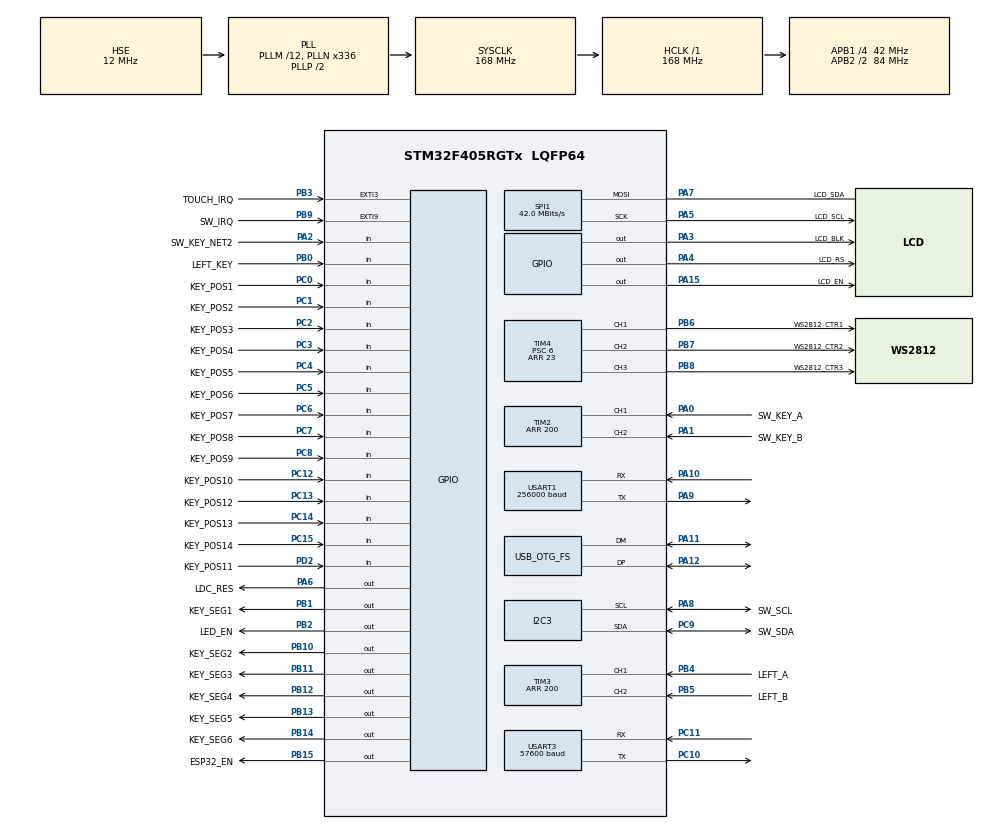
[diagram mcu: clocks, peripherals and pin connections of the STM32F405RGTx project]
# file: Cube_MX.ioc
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ADC1.Channel-0\#ChannelRegularConversion=ADC_CHANNEL_TEMPSENSOR
ADC1.NbrOfConversionFlag=1
ADC1.Rank-0\#ChannelRegularConversion=1
ADC1.SamplingTime-0\#ChannelRegularConversion=ADC_SAMPLETIME_3CYCLES
ADC1.master=1
Dma.Request0=USART3_RX
Dma.Request1=USART3_TX
Dma.Request2=SPI1_TX
Dma.Request3=USART1_RX
Dma.Request4=USART1_TX
Dma.SPI1_TX.2.Direction=DMA_MEMORY_TO_PERIPH
Dma.SPI1_TX.2.FIFOMode=DMA_FIFOMODE_DISABLE
Dma.SPI1_TX.2.Instance=DMA2_Stream3
Dma.SPI1_TX.2.MemDataAlignment=DMA_MDATAALIGN_BYTE
Dma.SPI1_TX.2.MemInc=DMA_MINC_ENABLE
Dma.SPI1_TX.2.Mode=DMA_NORMAL
Dma.SPI1_TX.2.PeriphDataAlignment=DMA_PDATAALIGN_BYTE
Dma.SPI1_TX.2.PeriphInc=DMA_PINC_DISABLE
Dma.SPI1_TX.2.Priority=DMA_PRIORITY_VERY_HIGH
Dma.USART1_RX.3.Direction=DMA_PERIPH_TO_MEMORY
Dma.USART1_RX.3.FIFOMode=DMA_FIFOMODE_DISABLE
Dma.USART1_RX.3.Instance=DMA2_Stream2
Dma.USART1_RX.3.MemDataAlignment=DMA_MDATAALIGN_BYTE
Dma.USART1_RX.3.MemInc=DMA_MINC_ENABLE
Dma.USART1_RX.3.Mode=DMA_CIRCULAR
Dma.USART1_RX.3.PeriphDataAlignment=DMA_PDATAALIGN_BYTE
Dma.USART1_RX.3.PeriphInc=DMA_PINC_DISABLE
Dma.USART1_RX.3.Priority=DMA_PRIORITY_VERY_HIGH
Dma.USART1_TX.4.Direction=DMA_MEMORY_TO_PERIPH
Dma.USART1_TX.4.FIFOMode=DMA_FIFOMODE_DISABLE
Dma.USART1_TX.4.Instance=DMA2_Stream7
Dma.USART1_TX.4.MemDataAlignment=DMA_MDATAALIGN_BYTE
Dma.USART1_TX.4.MemInc=DMA_MINC_ENABLE
Dma.USART1_TX.4.Mode=DMA_NORMAL
Dma.USART1_TX.4.PeriphDataAlignment=DMA_PDATAALIGN_BYTE
Dma.USART1_TX.4.PeriphInc=DMA_PINC_DISABLE
Dma.USART1_TX.4.Priority=DMA_PRIORITY_VERY_HIGH
Dma.USART3_RX.0.Direction=DMA_PERIPH_TO_MEMORY
Dma.USART3_RX.0.FIFOMode=DMA_FIFOMODE_DISABLE
Dma.USART3_RX.0.Instance=DMA1_Stream1
Dma.USART3_RX.0.MemDataAlignment=DMA_MDATAALIGN_BYTE
Dma.USART3_RX.0.MemInc=DMA_MINC_ENABLE
Dma.USART3_RX.0.Mode=DMA_CIRCULAR
Dma.USART3_RX.0.PeriphDataAlignment=DMA_PDATAALIGN_BYTE
Dma.USART3_RX.0.PeriphInc=DMA_PINC_DISABLE
Dma.USART3_RX.0.Priority=DMA_PRIORITY_VERY_HIGH
Dma.USART3_TX.1.Direction=DMA_MEMORY_TO_PERIPH
Dma.USART3_TX.1.FIFOMode=DMA_FIFOMODE_DISABLE
Dma.USART3_TX.1.Instance=DMA1_Stream3
Dma.USART3_TX.1.MemDataAlignment=DMA_MDATAALIGN_BYTE
Dma.USART3_TX.1.MemInc=DMA_MINC_ENABLE
Dma.USART3_TX.1.Mode=DMA_NORMAL
Dma.USART3_TX.1.PeriphDataAlignment=DMA_PDATAALIGN_BYTE
Dma.USART3_TX.1.PeriphInc=DMA_PINC_DISABLE
Dma.USART3_TX.1.Priority=DMA_PRIORITY_VERY_HIGH
FREERTOS.INCLUDE_vTaskDelayUntil=1
FREERTOS.Tasks01=defaultTask,0,128,StartDefaultTask,Default,NULL,Dynamic,NULL,NULL
FREERTOS.configTOTAL_HEAP_SIZE=20000
Mcu.Family=STM32F4
Mcu.Name=STM32F405RGTx
Mcu.Package=LQFP64
NVIC.DMA1_Stream1_IRQn=true\:6\:0\:true\:false\:true\:true\:false\:true
NVIC.DMA1_Stream3_IRQn=true\:6\:0\:true\:false\:true\:true\:false\:true
NVIC.DMA2_Stream2_IRQn=true\:6\:0\:true\:false\:true\:true\:false\:true
NVIC.DMA2_Stream3_IRQn=true\:6\:0\:true\:false\:true\:true\:false\:true
NVIC.DMA2_Stream7_IRQn=true\:6\:0\:true\:false\:true\:true\:false\:true
NVIC.EXTI3_IRQn=true\:8\:0\:true\:false\:true\:true\:true\:true
NVIC.EXTI9_5_IRQn=true\:8\:0\:true\:false\:true\:true\:true\:true
NVIC.OTG_FS_IRQn=true\:6\:0\:true\:false\:true\:true\:true\:true
NVIC.PriorityGroup=NVIC_PRIORITYGROUP_4
NVIC.TIM1_UP_TIM10_IRQn=true\:7\:0\:true\:false\:true\:true\:true\:true
NVIC.TIM4_IRQn=true\:5\:0\:true\:false\:true\:true\:true\:true
NVIC.USART1_IRQn=true\:7\:0\:true\:false\:true\:true\:true\:true
NVIC.USART3_IRQn=true\:7\:0\:true\:false\:true\:true\:true\:true
PA0-WKUP.GPIO_Label=SW_KEY_A
PA0-WKUP.GPIO_PuPd=GPIO_PULLUP
PA0-WKUP.GPIO_Speed=GPIO_SPEED_FREQ_HIGH
PA0-WKUP.Signal=S_TIM2_CH1_ETR
PA1.GPIO_Label=SW_KEY_B
PA1.GPIO_PuPd=GPIO_PULLUP
PA1.GPIO_Speed=GPIO_SPEED_FREQ_HIGH
PA1.Signal=S_TIM2_CH2
PA10.GPIO_ModeDefaultPP=GPIO_MODE_AF_OD
PA10.GPIO_PuPd=GPIO_PULLDOWN
PA10.Mode=Asynchronous
PA10.Signal=USART1_RX
PA11.GPIO_PuPd=GPIO_PULLUP
PA11.Mode=Device_Only
PA11.Signal=USB_OTG_FS_DM
PA12.GPIO_PuPd=GPIO_PULLUP
PA12.Mode=Device_Only
PA12.Signal=USB_OTG_FS_DP
PA13.Mode=Serial_Wire
PA13.Signal=SYS_JTMS-SWDIO
PA14.Mode=Serial_Wire
PA14.Signal=SYS_JTCK-SWCLK
PA15.GPIO_Label=LCD_EN
PA15.GPIO_ModeDefaultOutputPP=GPIO_MODE_OUTPUT_PP
PA15.GPIO_PuPd=GPIO_PULLDOWN
PA15.Signal=GPIO_Output
PA2.GPIO_Label=SW_KEY_NET2
PA2.GPIO_PuPd=GPIO_PULLUP
PA2.Signal=GPIO_Input
PA3.GPIO_Label=LCD_BLK
PA3.GPIO_PuPd=GPIO_PULLUP
PA3.Signal=GPIO_Output
PA4.GPIO_Label=LCD_RS
PA4.GPIO_PuPd=GPIO_PULLDOWN
PA4.Signal=GPIO_Output
PA5.GPIO_Label=LCD_SCL
PA5.GPIO_PuPd=GPIO_PULLUP
PA5.Mode=Simplex_Bidirectional_Master
PA5.Signal=SPI1_SCK
PA6.GPIO_Label=LDC_RES
PA6.GPIO_PuPd=GPIO_PULLDOWN
PA6.Signal=GPIO_Output
PA7.GPIO_Label=LCD_SDA
PA7.GPIO_PuPd=GPIO_PULLUP
PA7.Mode=Simplex_Bidirectional_Master
PA7.Signal=SPI1_MOSI
PA8.GPIO_Label=SW_SCL
PA8.GPIO_Pu=GPIO_PULLUP
PA8.Mode=I2C
PA8.Signal=I2C3_SCL
PA9.GPIO_ModeDefaultPP=GPIO_MODE_AF_PP
PA9.GPIO_PuPd=GPIO_PULLDOWN
PA9.Mode=Asynchronous
PA9.Signal=USART1_TX
PB0.GPIO_Label=LEFT_KEY
PB0.GPIO_PuPd=GPIO_PULLUP
PB0.Signal=GPIO_Input
PB1.GPIO_Label=KEY_SEG1
PB1.GPIO_PuPd=GPIO_PULLUP
PB1.GPIO_Speed=GPIO_SPEED_FREQ_VERY_HIGH
PB1.PinState=GPIO_PIN_SET
PB1.Signal=GPIO_Output
PB10.GPIO_Label=KEY_SEG2
PB10.GPIO_PuPd=GPIO_PULLUP
PB10.GPIO_Speed=GPIO_SPEED_FREQ_VERY_HIGH
PB10.PinState=GPIO_PIN_SET
PB10.Signal=GPIO_Output
PB11.GPIO_Label=KEY_SEG3
PB11.GPIO_PuPd=GPIO_PULLUP
PB11.GPIO_Speed=GPIO_SPEED_FREQ_VERY_HIGH
PB11.PinState=GPIO_PIN_SET
PB11.Signal=GPIO_Output
PB12.GPIO_Label=KEY_SEG4
PB12.GPIO_PuPd=GPIO_PULLUP
PB12.GPIO_Speed=GPIO_SPEED_FREQ_VERY_HIGH
PB12.PinState=GPIO_PIN_SET
PB12.Signal=GPIO_Output
PB13.GPIO_Label=KEY_SEG5
PB13.GPIO_PuPd=GPIO_PULLUP
PB13.GPIO_Speed=GPIO_SPEED_FREQ_VERY_HIGH
PB13.PinState=GPIO_PIN_SET
PB13.Signal=GPIO_Output
PB14.GPIO_Label=KEY_SEG6
PB14.GPIO_PuPd=GPIO_PULLUP
PB14.GPIO_Speed=GPIO_SPEED_FREQ_VERY_HIGH
PB14.PinState=GPIO_PIN_SET
PB14.Signal=GPIO_Output
PB15.GPIO_Label=ESP32_EN
PB15.GPIO_PuPd=GPIO_PULLUP
PB15.GPIO_Speed=GPIO_SPEED_FREQ_LOW
PB15.PinState=GPIO_PIN_RESET
PB15.Signal=GPIO_Output
PB2.GPIO_Label=LED_EN
PB2.GPIO_PuPd=GPIO_PULLDOWN
PB2.Signal=GPIO_Output
PB3.GPIO_Label=TOUCH_IRQ
PB3.GPIO_PuPd=GPIO_PULLDOWN
PB3.Signal=GPXTI3
PB4.GPIO_Label=LEFT_A
PB4.GPIO_PuPd=GPIO_PULLUP
PB4.GPIO_Speed=GPIO_SPEED_FREQ_HIGH
PB4.Signal=S_TIM3_CH1
PB5.GPIO_Label=LEFT_B
PB5.GPIO_PuPd=GPIO_PULLUP
PB5.GPIO_Speed=GPIO_SPEED_FREQ_HIGH
PB5.Signal=S_TIM3_CH2
PB6.GPIO_Label=WS2812_CTR1
PB6.GPIO_PuPd=GPIO_PULLUP
PB6.GPIO_Speed=GPIO_SPEED_FREQ_VERY_HIGH
PB6.Signal=S_TIM4_CH1
PB7.GPIO_Label=WS2812_CTR2
PB7.GPIO_PuPd=GPIO_PULLUP
PB7.GPIO_Speed=GPIO_SPEED_FREQ_VERY_HIGH
PB7.Signal=S_TIM4_CH2
PB8.GPIO_Label=WS2812_CTR3
PB8.GPIO_PuPd=GPIO_PULLUP
PB8.GPIO_Speed=GPIO_SPEED_FREQ_VERY_HIGH
PB8.Signal=S_TIM4_CH3
PB9.GPIO_Label=SW_IRQ
PB9.GPIO_PuPd=GPIO_PULLDOWN
PB9.Signal=GPXTI9
PC0.GPIO_Label=KEY_POS1
PC0.GPIO_PuPd=GPIO_PULLDOWN
PC0.Signal=GPIO_Input
PC1.GPIO_Label=KEY_POS2
PC1.GPIO_PuPd=GPIO_PULLDOWN
PC1.Signal=GPIO_Input
PC10.GPIO_PuPd=GPIO_PULLDOWN
PC10.GPIO_Speed=GPIO_SPEED_FREQ_VERY_HIGH
PC10.Mode=Asynchronous
PC10.Signal=USART3_TX
PC11.GPIO_PuPd=GPIO_PULLDOWN
PC11.GPIO_Speed=GPIO_SPEED_FREQ_VERY_HIGH
PC11.Mode=Asynchronous
PC11.Signal=USART3_RX
PC12.GPIO_Label=KEY_POS10
PC12.GPIO_PuPd=GPIO_PULLDOWN
PC12.Signal=GPIO_Input
PC13-ANTI_TAMP.GPIO_Label=KEY_POS12
PC13-ANTI_TAMP.GPIO_PuPd=GPIO_PULLDOWN
PC13-ANTI_TAMP.Signal=GPIO_Input
PC14-OSC32_IN.GPIO_Label=KEY_POS13
PC14-OSC32_IN.GPIO_PuPd=GPIO_PULLDOWN
PC14-OSC32_IN.Signal=GPIO_Input
PC15-OSC32_OUT.GPIO_Label=KEY_POS14
PC15-OSC32_OUT.GPIO_PuPd=GPIO_PULLDOWN
PC15-OSC32_OUT.Signal=GPIO_Input
PC2.GPIO_Label=KEY_POS3
PC2.GPIO_PuPd=GPIO_PULLDOWN
PC2.Signal=GPIO_Input
PC3.GPIO_Label=KEY_POS4
PC3.GPIO_PuPd=GPIO_PULLDOWN
PC3.Signal=GPIO_Input
PC4.GPIO_Label=KEY_POS5
PC4.GPIO_PuPd=GPIO_PULLDOWN
PC4.Signal=GPIO_Input
PC5.GPIO_Label=KEY_POS6
PC5.GPIO_PuPd=GPIO_PULLDOWN
PC5.Signal=GPIO_Input
PC6.GPIO_Label=KEY_POS7
PC6.GPIO_PuPd=GPIO_PULLDOWN
PC6.Signal=GPIO_Input
PC7.GPIO_Label=KEY_POS8
PC7.GPIO_PuPd=GPIO_PULLDOWN
PC7.Signal=GPIO_Input
PC8.GPIO_Label=KEY_POS9
PC8.GPIO_PuPd=GPIO_PULLDOWN
PC8.Signal=GPIO_Input
PC9.GPIO_Label=SW_SDA
PC9.GPIO_Pu=GPIO_PULLUP
PC9.Mode=I2C
PC9.Signal=I2C3_SDA
PD2.GPIO_Label=KEY_POS11
PD2.GPIO_PuPd=GPIO_PULLDOWN
PD2.Signal=GPIO_Input
PH0-OSC_IN.Mode=HSE-External-Oscillator
PH0-OSC_IN.Signal=RCC_OSC_IN
PH1-OSC_OUT.Mode=HSE-External-Oscillator
PH1-OSC_OUT.Signal=RCC_OSC_OUT
ProjectManager.HeapSize=0x800
ProjectManager.StackSize=0x800
ProjectManager.TargetToolchain=MDK-ARM V5.32
RCC.48MHZClocksFreq_Value=48000000
RCC.AHBFreq_Value=168000000
RCC.APB1CLKDivider=RCC_HCLK_DIV4
RCC.APB1Freq_Value=42000000
RCC.APB1TimFreq_Value=84000000
RCC.APB2CLKDivider=RCC_HCLK_DIV2
RCC.APB2Freq_Value=84000000
RCC.APB2TimFreq_Value=168000000
RCC.CortexFreq_Value=168000000
RCC.HCLKFreq_Value=168000000
RCC.HSE_VALUE=12000000
RCC.HSI_VALUE=16000000
RCC.LSE_VALUE=32768
RCC.PLLM=12
RCC.PLLN=336
RCC.PLLQ=7
RCC.SYSCLKFreq_VALUE=168000000
RCC.SYSCLKSource=RCC_SYSCLKSOURCE_PLLCLK
RCC.VCOOutputFreq_Value=336000000
SH.S_TIM2_CH1_ETR.0=TIM2_CH1,Encoder_Interface
SH.S_TIM2_CH2.0=TIM2_CH2,Encoder_Interface
SH.S_TIM3_CH1.0=TIM3_CH1,Encoder_Interface
SH.S_TIM3_CH2.0=TIM3_CH2,Encoder_Interface
SH.S_TIM4_CH1.0=TIM4_CH1,PWM Generation1 CH1
SH.S_TIM4_CH2.0=TIM4_CH2,PWM Generation2 CH2
SH.S_TIM4_CH3.0=TIM4_CH3,PWM Generation3 CH3
SPI1.CLKPhase=SPI_PHASE_2EDGE
SPI1.CLKPolarity=SPI_POLARITY_HIGH
SPI1.CalculateBaudRate=42.0 MBits/s
SPI1.Direction=SPI_DIRECTION_1LINE
SPI1.Mode=SPI_MODE_MASTER
SPI1.VirtualType=VM_MASTER
TIM1.AutoReloadPreload=TIM_AUTORELOAD_PRELOAD_ENABLE
TIM1.ClockDivision=TIM_CLOCKDIVISION_DIV1
TIM1.Period=150
TIM1.Prescaler=167
TIM2.AutoReloadPreload=TIM_AUTORELOAD_PRELOAD_ENABLE
TIM2.IC1Polarity=TIM_ICPOLARITY_RISING
TIM2.IC2Polarity=TIM_ICPOLARITY_FALLING
TIM2.Period=200
TIM3.AutoReloadPreload=TIM_AUTORELOAD_PRELOAD_ENABLE
TIM3.IC1Polarity=TIM_ICPOLARITY_FALLING
TIM3.IC2Polarity=TIM_ICPOLARITY_FALLING
TIM3.Period=200
TIM4.AutoReloadPreload=TIM_AUTORELOAD_PRELOAD_ENABLE
TIM4.Channel-PWM\ Generation1\ CH1=TIM_CHANNEL_1
TIM4.Channel-PWM\ Generation2\ CH2=TIM_CHANNEL_2
TIM4.Channel-PWM\ Generation3\ CH3=TIM_CHANNEL_3
TIM4.Period=23
TIM4.Prescaler=6
TIM4.Pulse-PWM\ Generation1\ CH1=12
TIM4.Pulse-PWM\ Generation2\ CH2=12
TIM4.Pulse-PWM\ Generation3\ CH3=12
USART1.BaudRate=256000
USART1.VirtualMode=VM_ASYNC
USART3.BaudRate=57600
USART3.VirtualMode=VM_ASYNC
USB_DEVICE.CLASS_NAME_FS=HID
USB_DEVICE.HID_FS_BINTERVAL=0x1
USB_DEVICE.VirtualMode-HID_FS=Hid
USB_DEVICE.VirtualModeFS=Hid_FS
USB_OTG_FS.VirtualMode=Device_Only
VP_ADC1_TempSens_Input.Mode=IN-TempSens
VP_ADC1_Vref_Input.Mode=IN-Vrefint
VP_FREERTOS_VS_CMSIS_V1.Mode=CMSIS_V1
VP_TIM1_VS_ClockSourceINT.Mode=Internal
VP_TIM4_VS_ClockSourceINT.Mode=Internal
VP_USB_DEVICE_VS_USB_DEVICE_HID_FS.Mode=HID_FS
board=custom

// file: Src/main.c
/* USER CODE BEGIN Header */
/**
 ******************************************************************************
 * @file           : main.c
 * @brief          : Main program body
 ******************************************************************************
 * @attention
 *
 * <h2><center>&copy; Copyright (c) 2020 STMicroelectronics.
 * All rights reserved.</center></h2>
 *
 * This software component is licensed by ST under Ultimate Liberty license
 * SLA0044, the "License"; You may not use this file except in compliance with
 * the License. You may obtain a copy of the License at:
 *                             www.st.com/SLA0044
 *
 ******************************************************************************
 */
/*MIT License

Copyright (c) 2020 SEASKY-Master

Permission is hereby granted, free of charge, to any person obtaining a copy
of this software and associated documentation files (the "Software"), to deal
in the Software without restriction, including without limitation the rights
to use, copy, modify, merge, publish, distribute, sublicense, and/or sell
copies of the Software, and to permit persons to whom the Software is
furnished to do so, subject to the following conditions:

The above copyright notice and this permission notice shall be included in all
copies or substantial portions of the Software.

THE SOFTWARE IS PROVIDED "AS IS", WITHOUT WARRANTY OF ANY KIND, EXPRESS OR
IMPLIED, INCLUDING BUT NOT LIMITED TO THE WARRANTIES OF MERCHANTABILITY,
FITNESS FOR A PARTICULAR PURPOSE AND NONINFRINGEMENT. IN NO EVENT SHALL THE
AUTHORS OR COPYRIGHT HOLDERS BE LIABLE FOR ANY CLAIM, DAMAGES OR OTHER
LIABILITY, WHETHER IN AN ACTION OF CONTRACT, TORT OR OTHERWISE, ARISING FROM,
OUT OF OR IN CONNECTION WITH THE SOFTWARE OR THE USE OR OTHER DEALINGS IN THE
SOFTWARE.
*/
/* USER CODE END Header */
#include "main.h"
#include "cmsis_os.h"
#include "adc.h"
#include "dma.h"
#include "i2c.h"
#include "spi.h"
#include "tim.h"
#include "usart.h"
#include "usb_device.h"
#include "gpio.h"

/* USER CODE BEGIN Includes */
#include "bsp_delay.h"
#include "bsp_interface.h"
/* USER CODE END Includes */

void SystemClock_Config(void);
void MX_FREERTOS_Init(void);

int main(void)
{

  /* MCU Configuration--------------------------------------------------------*/

  /* Reset of all peripherals, Initializes the Flash interface and the Systick. */
  HAL_Init();

  /* USER CODE BEGIN Init */

  SystemClock_Config();

  MX_FREERTOS_Init();
  osKernelStart();
  while (1)
  {
  }
  return 0;
  /* USER CODE END Init */

  /* Configure the system clock */
  SystemClock_Config();

  /* Initialize all configured peripherals */
  MX_GPIO_Init();
  MX_ADC1_Init();
  MX_TIM4_Init();
  MX_USART1_UART_Init();
  MX_TIM2_Init();
  MX_TIM3_Init();
  MX_DMA_Init();
  MX_USART3_UART_Init();
  MX_TIM1_Init();
  MX_SPI1_Init();
  MX_I2C3_Init();

  /* Call init function for freertos objects (in freertos.c) */
  MX_FREERTOS_Init();
  /* Start scheduler */
  osKernelStart();

  /* We should never get here as control is now taken by the scheduler */
  /* Infinite loop */
  while (1)
  {

  }
}

void SystemClock_Config(void)
{
  RCC_OscInitTypeDef RCC_OscInitStruct = {0};
  RCC_ClkInitTypeDef RCC_ClkInitStruct = {0};

  /** Configure the main internal regulator output voltage
  */
  __HAL_RCC_PWR_CLK_ENABLE();
  __HAL_PWR_VOLTAGESCALING_CONFIG(PWR_REGULATOR_VOLTAGE_SCALE1);
  /** Initializes the RCC Oscillators according to the specified parameters
  * in the RCC_OscInitTypeDef structure.
  */
  RCC_OscInitStruct.OscillatorType = RCC_OSCILLATORTYPE_HSE;
  RCC_OscInitStruct.HSEState = RCC_HSE_ON;
  RCC_OscInitStruct.PLL.PLLState = RCC_PLL_ON;
  RCC_OscInitStruct.PLL.PLLSource = RCC_PLLSOURCE_HSE;
  RCC_OscInitStruct.PLL.PLLM = 12;
  RCC_OscInitStruct.PLL.PLLN = 336;
  RCC_OscInitStruct.PLL.PLLP = RCC_PLLP_DIV2;
  RCC_OscInitStruct.PLL.PLLQ = 7;
  if (HAL_RCC_OscConfig(&RCC_OscInitStruct) != HAL_OK)
  {
    Error_Handler();
  }
  /** Initializes the CPU, AHB and APB buses clocks
  */
  RCC_ClkInitStruct.ClockType = RCC_CLOCKTYPE_HCLK|RCC_CLOCKTYPE_SYSCLK
                              |RCC_CLOCKTYPE_PCLK1|RCC_CLOCKTYPE_PCLK2;
  RCC_ClkInitStruct.SYSCLKSource = RCC_SYSCLKSOURCE_PLLCLK;
  RCC_ClkInitStruct.AHBCLKDivider = RCC_SYSCLK_DIV1;
  RCC_ClkInitStruct.APB1CLKDivider = RCC_HCLK_DIV4;
  RCC_ClkInitStruct.APB2CLKDivider = RCC_HCLK_DIV2;

  if (HAL_RCC_ClockConfig(&RCC_ClkInitStruct, FLASH_LATENCY_5) != HAL_OK)
  {
    Error_Handler();
  }
}

void Error_Handler(void)
{
}

/************************ (C) COPYRIGHT STMicroelectronics *****END OF FILE****/

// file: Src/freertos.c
/* USER CODE BEGIN Header */
/**
 ******************************************************************************
 * File Name          : freertos.c
 * Description        : Code for freertos applications
 ******************************************************************************
 * @attention
 *
 * <h2><center>&copy; Copyright (c) 2020 STMicroelectronics.
 * All rights reserved.</center></h2>
 *
 * This software component is licensed by ST under Ultimate Liberty license
 * SLA0044, the "License"; You may not use this file except in compliance with
 * the License. You may obtain a copy of the License at:
 *                             www.st.com/SLA0044
 *
 ******************************************************************************
 */
/* USER CODE END Header */

#include "FreeRTOS.h"
#include "task.h"
#include "main.h"
#include "cmsis_os.h"

/* USER CODE BEGIN Includes */
#include "bsp_interface.h"
#include "keyboard_task.h"
#include "key_task.h"
#include "ws2812b_task.h"
#include "lvgl_task.h"
#include "touch_task.h"
#include "flash_task.h"
#include "lcd.h"
#include "lcd_init.h"
#include "bsp_sw6208.h"
#include "bsp_usart.h"
#include "bsp_delay.h"
#include "power_task.h"
/* USER CODE END Includes */

osThreadId defaultTaskHandle;

void StartDefaultTask(void const * argument);

extern void MX_USB_DEVICE_Init(void);
void MX_FREERTOS_Init(void); /* (MISRA C 2004 rule 8.1) */

/* GetIdleTaskMemory prototype (linked to static allocation support) */
void vApplicationGetIdleTaskMemory( StaticTask_t **ppxIdleTaskTCBBuffer, StackType_t **ppxIdleTaskStackBuffer, uint32_t *pulIdleTaskStackSize );

/* USER CODE BEGIN GET_IDLE_TASK_MEMORY */
static StaticTask_t xIdleTaskTCBBuffer;
static StackType_t xIdleStack[configMINIMAL_STACK_SIZE];

void vApplicationGetIdleTaskMemory(StaticTask_t **ppxIdleTaskTCBBuffer, StackType_t **ppxIdleTaskStackBuffer, uint32_t *pulIdleTaskStackSize)
{
  *ppxIdleTaskTCBBuffer = &xIdleTaskTCBBuffer;
  *ppxIdleTaskStackBuffer = &xIdleStack[0];
  *pulIdleTaskStackSize = configMINIMAL_STACK_SIZE;
  /* place for user code */
}
/* USER CODE END GET_IDLE_TASK_MEMORY */

void MX_FREERTOS_Init(void) {

  /* USER CODE BEGIN RTOS_QUEUES */
  /* add queues, ... */

  delay_init();
  bsp_interface_init();
  MX_GPIO_Init();
  MX_ADC1_Init();
  MX_DMA_Init();
  flash_info_init();
  key_scanf_for_standby();

  //初始化
  MX_USB_DEVICE_Init();

  MX_USART1_UART_Init();
  MX_USART3_UART_Init();
  MX_SPI1_Init();
  MX_I2C3_Init();
  MX_TIM1_Init();
  MX_TIM2_Init();
  MX_TIM3_Init();
  MX_TIM4_Init();

  bsp_usart1_init();
  bsp_usart3_init();

  // 创建任务
  power_all_close_fun();
  delay_ms(100);
  power_all_open_fun();
  // 关闭所有电源
  bsp_sw6208_init(); //初始化pd
  flash_task_creat();
  key_task_creat();
  keyboard_task_creat();
  lvgl_task_creat();
  ws2812b_task_creat();
  touch_task_creat();
  power_task_creat();
  return;
  //	MX_USB_DEVICE_Init();
  /* USER CODE END RTOS_QUEUES */

  /* Create the thread(s) */
  /* definition and creation of defaultTask */
  osThreadDef(defaultTask, StartDefaultTask, osPriorityNormal, 0, 128);
  defaultTaskHandle = osThreadCreate(osThread(defaultTask), NULL);

}

void StartDefaultTask(void const * argument)
{
  /* init code for USB_DEVICE */
  MX_USB_DEVICE_Init();
  /* USER CODE BEGIN StartDefaultTask */
  /* Infinite loop */
  for (;;)
  {
    osDelay(100);
  }
  /* USER CODE END StartDefaultTask */
}

/************************ (C) COPYRIGHT STMicroelectronics *****END OF FILE****/
